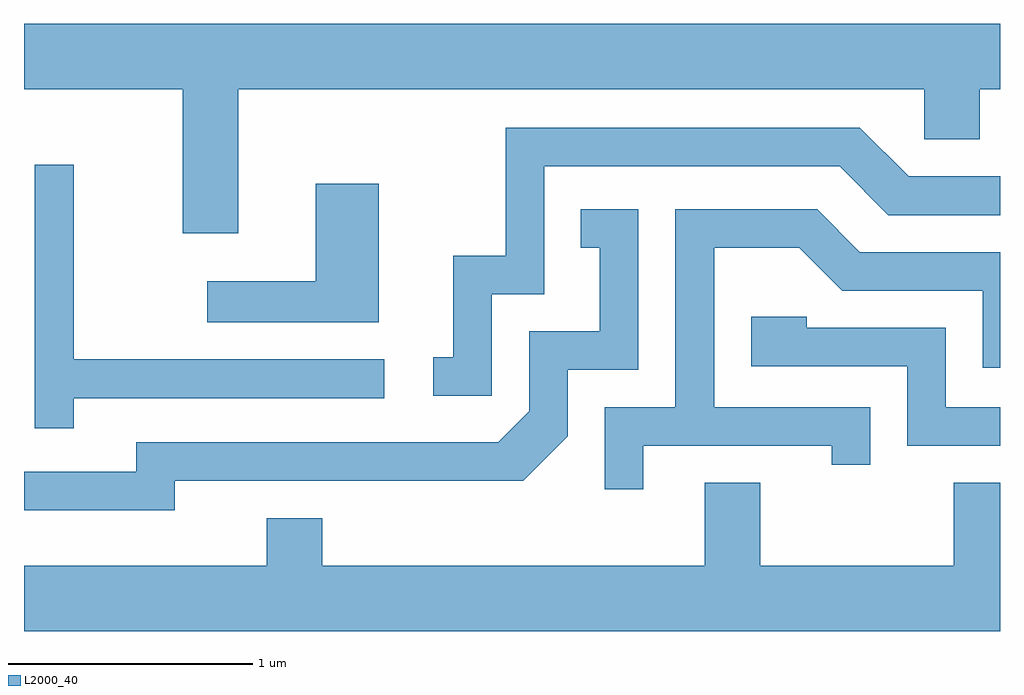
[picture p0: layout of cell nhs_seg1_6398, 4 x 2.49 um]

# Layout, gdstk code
import gdstk
lib = gdstk.Library(unit=1e-6, precision=1e-09)
def P(c, l, *ps):  # polygons
    for p in ps: c.add(gdstk.Polygon(p, *l))
L2000_40 = (2000, 40)

nhs_seg1_6398 = lib.new_cell('nhs_seg1_6398')
P(nhs_seg1_6398, L2000_40, [(378.489,930.656),(381.301,930.656),(381.301,930.451),(381.529,930.451),(381.529,930.656),(381.611,930.656),(381.611,930.924),(377.611,930.924),(377.611,930.656),(378.261,930.656),(378.261,930.066),(378.489,930.066)],
  [(379.529,929.816),(379.744,929.816),(379.744,930.341),(380.954,930.341),(381.154,930.141),(381.611,930.141),(381.611,930.299),(381.237,930.299),(381.037,930.499),(379.586,930.499),(379.586,929.974),(379.371,929.974),(379.371,929.559),(379.288,929.559),(379.288,929.401),(379.529,929.401)],
  [(377.814,929.391),(379.088,929.391),(379.088,929.549),(377.814,929.549),(377.814,930.348),(377.656,930.348),(377.656,929.268),(377.814,929.268)],
  [(379.064,930.269),(378.806,930.269),(378.806,929.869),(378.363,929.869),(378.363,929.701),(379.064,929.701)],
  [(380.149,929.196),(380.921,929.196),(380.921,929.118),(381.079,929.118),(381.079,929.354),(380.439,929.354),(380.439,930.006),(380.789,930.006),(380.964,929.831),(381.541,929.831),(381.541,929.516),(381.611,929.516),(381.611,929.989),(381.037,929.989),(380.862,930.164),(380.281,930.164),(380.281,929.354),(379.991,929.354),(379.991,929.018),(380.149,929.018)],
  [(378.229,929.051),(379.657,929.051),(379.839,929.234),(379.839,929.506),(380.129,929.506),(380.129,930.164),(379.893,930.164),(379.893,930.006),(379.971,930.006),(379.971,929.664),(379.681,929.664),(379.681,929.337),(379.554,929.209),(378.071,929.209),(378.071,929.089),(377.611,929.089),(377.611,928.931),(378.229,928.931)],
  [(381.611,929.354),(381.389,929.354),(381.389,929.679),(380.819,929.679),(380.819,929.724),(380.591,929.724),(380.591,929.521),(381.231,929.521),(381.231,929.196),(381.611,929.196)],
  [(381.611,929.044),(381.421,929.044),(381.421,928.704),(380.629,928.704),(380.629,929.044),(380.401,929.044),(380.401,928.704),(378.834,928.704),(378.834,928.899),(378.606,928.899),(378.606,928.704),(377.611,928.704),(377.611,928.436),(381.611,928.436)])

lib.write_gds('nhs_seg1_6398.gds')
